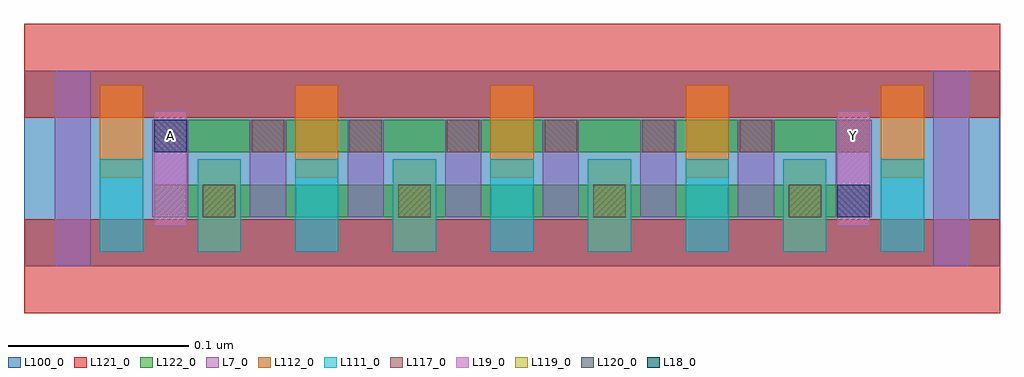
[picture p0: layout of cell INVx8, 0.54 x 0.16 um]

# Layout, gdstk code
import gdstk
lib = gdstk.Library(unit=1e-6, precision=2.5e-10)
def R(c, l, rs):  # rectangles x0, y0, x1, y1
    for r in rs: c.add(gdstk.rectangle(r[:2], r[2:], *l))
def A(c, l, x, y, w, h, nx, ny, dx, dy):  # array of equal rectangles
    R(c, l, [(x+i*dx, y+j*dy, x+i*dx+w, y+j*dy+h) for i in range(nx) for j in range(ny)])
L7_0 = (7, 0)
L18_0 = (18, 0)
L19_0 = (19, 0)
L100_0 = (100, 0)
L111_0 = (111, 0)
L112_0 = (112, 0)
L117_0 = (117, 0)
L119_0 = (119, 0)
L120_0 = (120, 0)
L121_0 = (121, 0)
L122_0 = (122, 0)

invx8 = lib.new_cell('INVx8')
A(invx8, L7_0, 0.071, 0.027, 0.02, 0.054, 8, 1, 0.054, 0)
R(invx8, L7_0, [(0.017,0,0.037,0.108), (0.503,0,0.523,0.108)])
R(invx8, L18_0, [(0.45,0.027,0.468,0.045), (0.072,0.063,0.09,0.081)])
R(invx8, L19_0, [(0.072,0.022,0.09,0.086), (0.45,0.022,0.468,0.086)])
R(invx8, L100_0, [(0,0,0.54,0.108)])
A(invx8, L111_0, 0.042, 0.008, 0.024, 0.051, 9, 1, 0.054, 0)
A(invx8, L112_0, 0.096, 0.008, 0.024, 0.051, 4, 1, 0.108, 0)
A(invx8, L112_0, 0.042, 0.049, 0.024, 0.051, 5, 1, 0.108, 0)
A(invx8, L117_0, 0.072, 0.063, 0.018, 0.018, 8, 1, 0.054, 0)
A(invx8, L119_0, 0.099, 0.027, 0.018, 0.018, 4, 1, 0.108, 0)
A(invx8, L120_0, 0.099, 0.027, 0.018, 0.018, 4, 1, 0.108, 0)
R(invx8, L121_0, [(0,-0.026,0.54,0.026), (0,0.082,0.54,0.134)])
R(invx8, L122_0, [(0.072,0.027,0.468,0.045), (0.072,0.063,0.468,0.081)])
invx8.add(gdstk.Label('Y', (0.459,0.072), layer=19, texttype=251))
invx8.add(gdstk.Label('A', (0.081,0.072), layer=19, texttype=251))

lib.write_gds('INVx8.gds')
